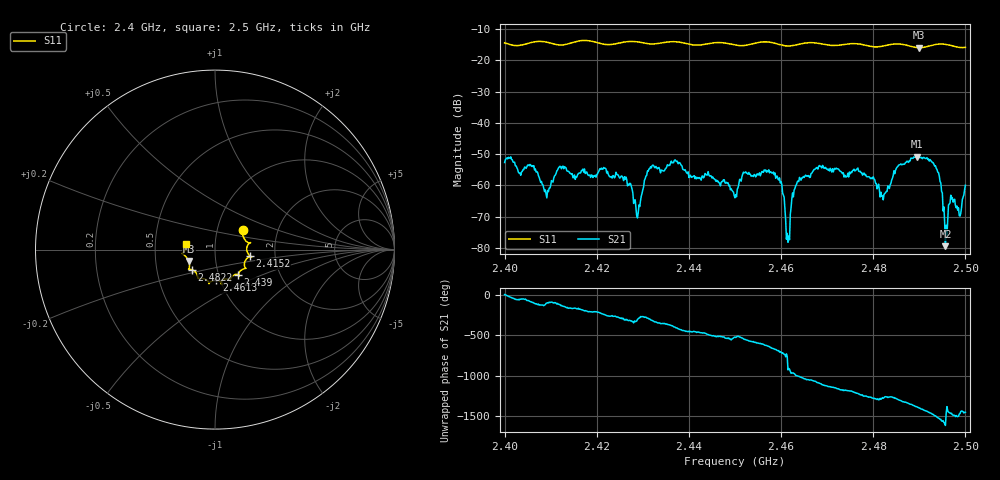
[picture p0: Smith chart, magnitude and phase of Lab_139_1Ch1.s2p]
# Hz S RI R 50
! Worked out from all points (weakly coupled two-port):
!   601 points, 2.4 GHz to 2.5 GHz, reference 50 ohm
!   highest |S21| = -50.84 dB at 2.4895 GHz (marker M1); lowest = -79.5 dB at 2.4957 GHz (marker M2)
!   lowest |S11| = -15.9 dB at 2.49 GHz (marker M3), VSWR 1.38, Z = 36.9 - j4.85 ohm
!   |S11| at or under -10 dB: start of sweep to end of sweep
!   S12 and S22 are empty: the file has one direction only
!   S11 on the Smith chart (normalised r, x): 2.4 GHz: 1.33, +0.31; 2.4152 GHz: 1.48, -0.11; 2.439 GHz: 1.24, -0.36; 2.4613 GHz: 0.96, -0.34; 2.4822 GHz: 0.76, -0.17; 2.5 GHz: 0.72, +0.05
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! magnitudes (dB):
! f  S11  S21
! 2.4 GHz  -14.3  -52.7
! 2.409 GHz  -14.1  -62.8
! 2.4152 GHz  -14.1  -56.7
! 2.4167 GHz  -13.6  -55.3
! 2.426 GHz  -14.1  -57.2
! 2.429 GHz  -14.1  -68.7
! 2.4312 GHz  -14.6  -55.4
! 2.4333 GHz  -14.5  -54.4
! 2.439 GHz  -14.4  -55.1
! 2.45 GHz  -15.0  -64.0
! 2.4582 GHz  -14.3  -56.0
! 2.4602 GHz  -15.1  -59.7
! 2.4613 GHz  -15.3  -75.4
! 2.4635 GHz  -14.9  -58.9
! 2.4667 GHz  -14.3  -56.1
! 2.4822 GHz  -15.4  -64.6
! 2.4833 GHz  -15.0  -60.4
! 2.4895 GHz  -15.9  -50.8
! 2.49 GHz  -15.9  -51.0
! 2.4938 GHz  -14.8  -54.9
! 2.4957 GHz  -14.8  -79.5
! 2.5 GHz  -15.8  -59.9
